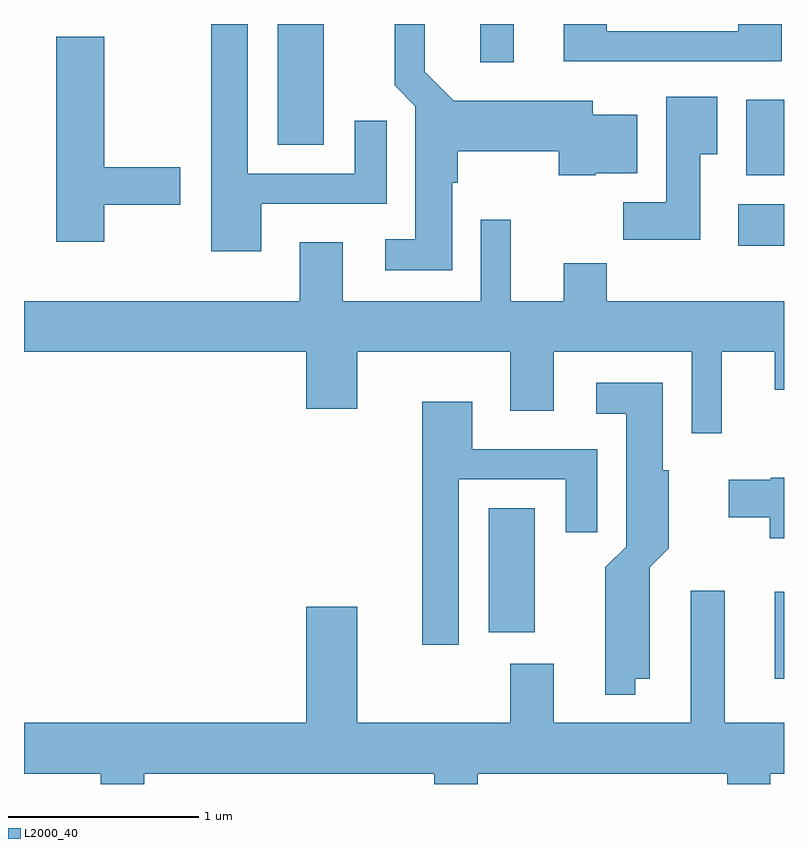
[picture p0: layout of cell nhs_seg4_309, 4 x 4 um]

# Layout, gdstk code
import gdstk
lib = gdstk.Library(unit=1e-6, precision=1e-09)
def R(c, l, rs):  # rectangles x0, y0, x1, y1
    for r in rs: c.add(gdstk.rectangle(r[:2], r[2:], *l))
def P(c, l, *ps):  # polygons
    for p in ps: c.add(gdstk.Polygon(p, *l))
L2000_40 = (2000, 40)

nhs_seg4_309 = lib.new_cell('nhs_seg4_309')
R(nhs_seg4_309, L2000_40, [(197.561,1328.536,197.611,1328.994), (196.056,1328.781,196.299,1329.434), (197.371,1330.816,197.611,1331.034), (197.411,1331.186,197.611,1331.584), (194.946,1331.346,195.189,1331.982), (196.011,1331.781,196.189,1331.982)])
P(nhs_seg4_309, L2000_40, [(197.599,1331.982),(197.371,1331.982),(197.371,1331.944),(196.679,1331.944),(196.679,1331.982),(196.451,1331.982),(196.451,1331.786),(197.599,1331.786)],
  [(195.864,1331.146),(195.894,1331.146),(195.894,1331.311),(196.426,1331.311),(196.426,1331.186),(196.62,1331.186),(196.62,1331.196),(196.839,1331.196),(196.839,1331.504),(196.604,1331.504),(196.604,1331.579),(195.872,1331.579),(195.719,1331.732),(195.719,1331.982),(195.561,1331.982),(195.561,1331.659),(195.671,1331.549),(195.671,1330.849),(195.513,1330.849),(195.513,1330.686),(195.864,1330.686)],
  [(194.859,1331.036),(195.519,1331.036),(195.519,1331.473),(195.351,1331.473),(195.351,1331.194),(194.789,1331.194),(194.789,1331.982),(194.596,1331.982),(194.596,1330.786),(194.859,1330.786)],
  [(194.034,1331.031),(194.434,1331.031),(194.434,1331.229),(194.034,1331.229),(194.034,1331.914),(193.781,1331.914),(193.781,1330.836),(194.034,1330.836)],
  [(197.169,1331.296),(197.259,1331.296),(197.259,1331.599),(196.991,1331.599),(196.991,1331.044),(196.766,1331.044),(196.766,1330.846),(197.169,1330.846)],
  [(197.284,1330.256),(197.561,1330.256),(197.561,1330.056),(197.611,1330.056),(197.611,1330.524),(196.679,1330.524),(196.679,1330.724),(196.451,1330.724),(196.451,1330.524),(196.174,1330.524),(196.174,1330.953),(196.016,1330.953),(196.016,1330.524),(195.289,1330.524),(195.289,1330.834),(195.061,1330.834),(195.061,1330.524),(193.611,1330.524),(193.611,1330.256),(195.096,1330.256),(195.096,1329.956),(195.364,1329.956),(195.364,1330.256),(196.171,1330.256),(196.171,1329.946),(196.399,1329.946),(196.399,1330.256),(197.126,1330.256),(197.126,1329.828),(197.284,1329.828)],
  [(196.829,1328.536),(196.904,1328.536),(196.904,1329.124),(197.004,1329.224),(197.004,1329.634),(196.974,1329.634),(196.974,1330.094),(196.623,1330.094),(196.623,1329.931),(196.781,1329.931),(196.781,1329.232),(196.671,1329.122),(196.671,1328.453),(196.829,1328.453)],
  [(195.899,1329.586),(196.461,1329.586),(196.461,1329.308),(196.629,1329.308),(196.629,1329.744),(195.969,1329.744),(195.969,1329.994),(195.706,1329.994),(195.706,1328.716),(195.899,1328.716)],
  [(197.611,1329.594),(197.54,1329.594),(197.54,1329.584),(197.321,1329.584),(197.321,1329.386),(197.536,1329.386),(197.536,1329.276),(197.611,1329.276)],
  [(194.244,1328.036),(195.771,1328.036),(195.771,1327.982),(195.999,1327.982),(195.999,1328.036),(197.311,1328.036),(197.311,1327.982),(197.539,1327.982),(197.539,1328.036),(197.611,1328.036),(197.611,1328.304),(197.299,1328.304),(197.299,1328.999),(197.121,1328.999),(197.121,1328.304),(196.399,1328.304),(196.399,1328.614),(196.171,1328.614),(196.171,1328.304),(195.364,1328.304),(195.364,1328.914),(195.096,1328.914),(195.096,1328.304),(193.611,1328.304),(193.611,1328.036),(194.016,1328.036),(194.016,1327.982),(194.244,1327.982)])

lib.write_gds('nhs_seg4_309.gds')
